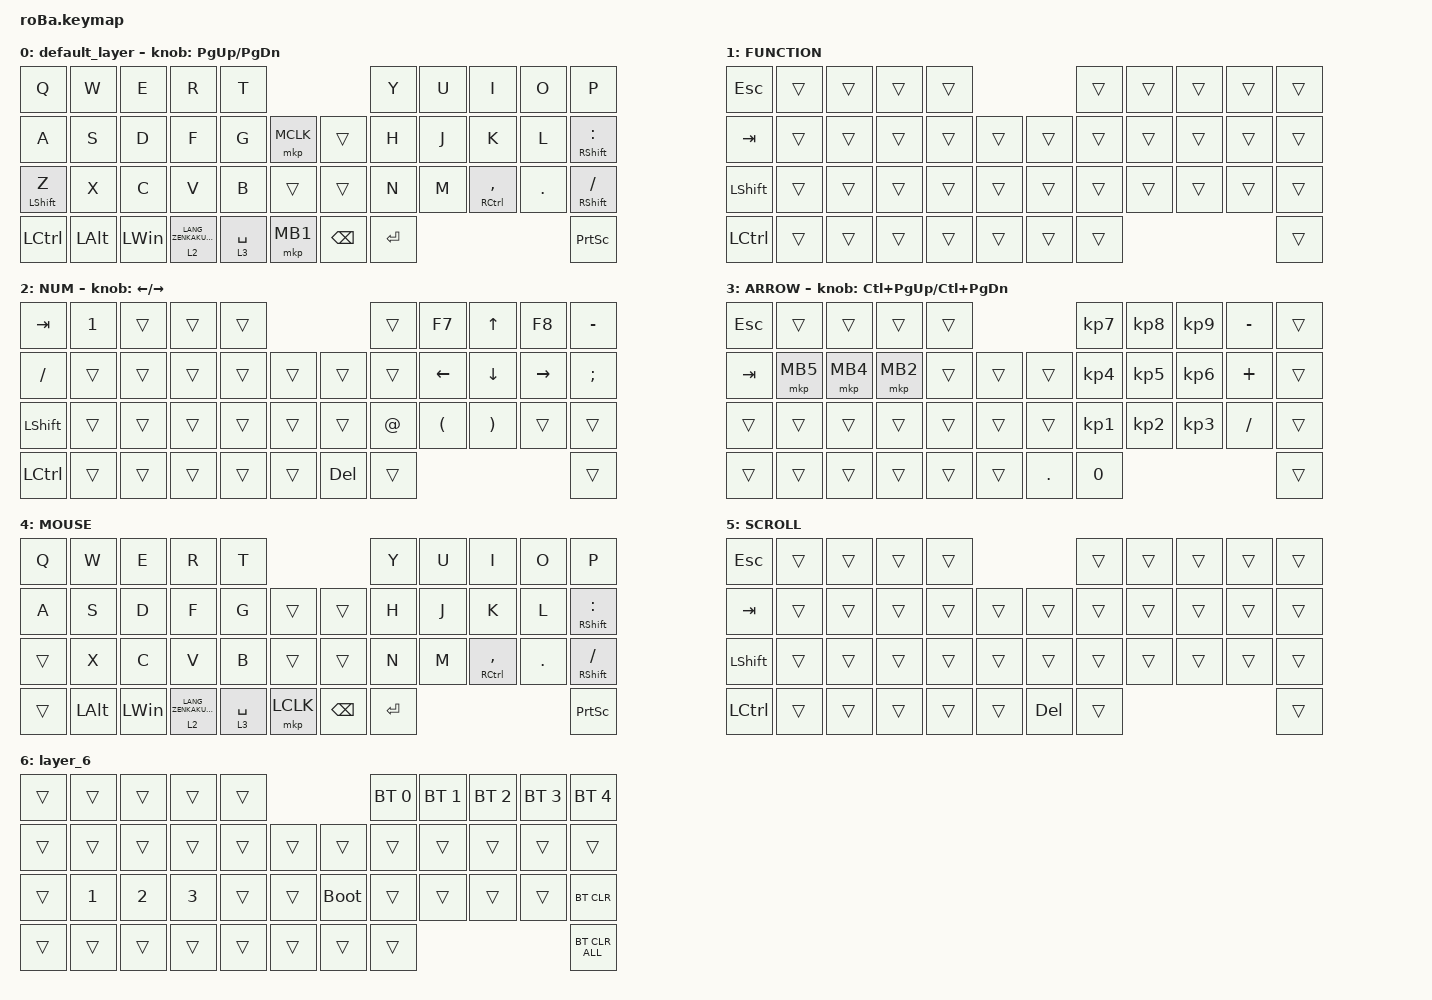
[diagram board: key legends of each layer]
#include <behaviors.dtsi>
#include <dt-bindings/zmk/bt.h>
#include <dt-bindings/zmk/keys.h>
#include <dt-bindings/zmk/pointing.h>

&mt {
    flavor = "balanced";
    quick-tap-ms = <0>;
};

/ {
    combos {
        compatible = "zmk,combos";

        tab {
            bindings = <&kp TAB>;
            key-positions = <11 12>;
        };

        shift_tab {
            bindings = <&kp LS(TAB)>;
            key-positions = <12 13>;
        };

        muhennkann {
            bindings = <&to_layer_0 INT_MUHENKAN>;
            key-positions = <11 10>;
        };

        double_quotation {
            bindings = <&kp DOUBLE_QUOTES>;
            key-positions = <20 21>;
        };

        eq {
            bindings = <&kp EQUAL>;
            key-positions = <24 25>;
        };
    };

    macros {
        to_layer_0: to_layer_0 {
            compatible = "zmk,behavior-macro-one-param";
            #binding-cells = <1>;
            bindings = <&to 0 &macro_param_1to1 &kp MACRO_PLACEHOLDER>;
            label = "TO_LAYER_0";
        };
    };

    behaviors {
        lt_to_layer_0: lt_to_layer_0 {
            compatible = "zmk,behavior-hold-tap";
            label = "LAYER_TAP_TO_0";
            bindings = <&mo>, <&to_layer_0>;

            #binding-cells = <2>;
            tapping-term-ms = <200>;
        };
    };

    keymap {
        compatible = "zmk,keymap";

        default_layer {
            bindings = <
&kp Q             &kp W         &kp E         &kp R                      &kp T                                      &kp Y      &kp U  &kp I            &kp O    &kp P
&kp A             &kp S         &kp D         &kp F                      &kp G        &mkp MCLK      &trans         &kp H      &kp J  &kp K            &kp L    &mt RIGHT_SHIFT COLON
&mt LEFT_SHIFT Z  &kp X         &kp C         &kp V                      &kp B        &trans         &trans         &kp N      &kp M  &mt RCTRL COMMA  &kp DOT  &mt RIGHT_SHIFT SLASH
&kp LCTRL         &kp LEFT_ALT  &kp LEFT_WIN  &lt 2 LANG_ZENKAKUHANKAKU  &lt 3 SPACE  &mkp MB1       &kp BACKSPACE  &kp ENTER                                   &kp PRINTSCREEN
            >;

            sensor-bindings = <&inc_dec_kp PG_UP PAGE_DOWN>;
        };

        FUNCTION {
            bindings = <
&kp ESCAPE      &trans  &trans  &trans  &trans                      &trans  &trans  &trans  &trans  &trans
&kp TAB         &trans  &trans  &trans  &trans  &trans      &trans  &trans  &trans  &trans  &trans  &trans
&kp LEFT_SHIFT  &trans  &trans  &trans  &trans  &trans      &trans  &trans  &trans  &trans  &trans  &trans
&kp LCTRL       &trans  &trans  &trans  &trans  &trans      &trans  &trans                          &trans
            >;
        };

        NUM {
            bindings = <
&kp TAB         &kp NUMBER_1  &trans  &trans  &trans                          &trans  &kp F7                &kp UP_ARROW           &kp F8     &kp MINUS
&kp SLASH       &trans        &trans  &trans  &trans  &trans      &trans      &trans  &kp LEFT              &kp DOWN_ARROW         &kp RIGHT  &kp SEMICOLON
&kp LEFT_SHIFT  &trans        &trans  &trans  &trans  &trans      &trans      &kp AT  &kp LEFT_PARENTHESIS  &kp RIGHT_PARENTHESIS  &trans     &trans
&kp LCTRL       &trans        &trans  &trans  &trans  &trans      &kp DELETE  &trans                                                          &trans
            >;

            sensor-bindings = <&inc_dec_kp LEFT RIGHT>;
        };

        ARROW {
            bindings = <
&kp ESCAPE  &trans    &trans    &trans    &trans                          &kp KP_NUMBER_7  &kp KP_NUMBER_8  &kp KP_NUMBER_9  &kp MINUS  &trans
&kp TAB     &mkp MB5  &mkp MB4  &mkp MB2  &trans  &trans      &trans      &kp KP_NUMBER_4  &kp KP_NUMBER_5  &kp KP_NUMBER_6  &kp PLUS   &trans
&trans      &trans    &trans    &trans    &trans  &trans      &trans      &kp KP_NUMBER_1  &kp KP_NUMBER_2  &kp KP_NUMBER_3  &kp SLASH  &trans
&trans      &trans    &trans    &trans    &trans  &trans      &kp PERIOD  &kp NUMBER_0                                                  &trans
            >;

            sensor-bindings = <&inc_dec_kp LC(PAGE_UP) LC(PAGE_DOWN)>;
        };

        MOUSE {
            bindings = <
&kp Q   &kp W         &kp E         &kp R                      &kp T                                      &kp Y      &kp U  &kp I            &kp O       &kp P
&kp A   &kp S         &kp D         &kp F                      &kp G        &trans         &trans         &kp H      &kp J  &kp K            &kp L       &mt RSHFT COLON
&trans  &kp X         &kp C         &kp V                      &kp B        &trans         &trans         &kp N      &kp M  &mt RCTRL COMMA  &kp PERIOD  &mt RSHFT SLASH
&trans  &kp LEFT_ALT  &kp LEFT_WIN  &lt 2 LANG_ZENKAKUHANKAKU  &lt 3 SPACE  &mkp LCLK      &kp BACKSPACE  &kp ENTER                                      &kp PRINTSCREEN
            >;
        };

        SCROLL {
            bindings = <
&kp ESCAPE      &trans  &trans  &trans  &trans                          &trans  &trans  &trans  &trans  &trans
&kp TAB         &trans  &trans  &trans  &trans  &trans      &trans      &trans  &trans  &trans  &trans  &trans
&kp LEFT_SHIFT  &trans  &trans  &trans  &trans  &trans      &trans      &trans  &trans  &trans  &trans  &trans
&kp LCTRL       &trans  &trans  &trans  &trans  &trans      &kp DELETE  &trans                          &trans
            >;
        };

        layer_6 {
            bindings = <
&trans  &trans        &trans        &trans        &trans                           &bt BT_SEL 0  &bt BT_SEL 1  &bt BT_SEL 2  &bt BT_SEL 3  &bt BT_SEL 4
&trans  &trans        &trans        &trans        &trans  &trans      &trans       &trans        &trans        &trans        &trans        &trans
&trans  &kp NUMBER_1  &kp NUMBER_2  &kp NUMBER_3  &trans  &trans      &bootloader  &trans        &trans        &trans        &trans        &bt BT_CLR
&trans  &trans        &trans        &trans        &trans  &trans      &trans       &trans                                                  &bt BT_CLR_ALL
            >;
        };
    };
};
